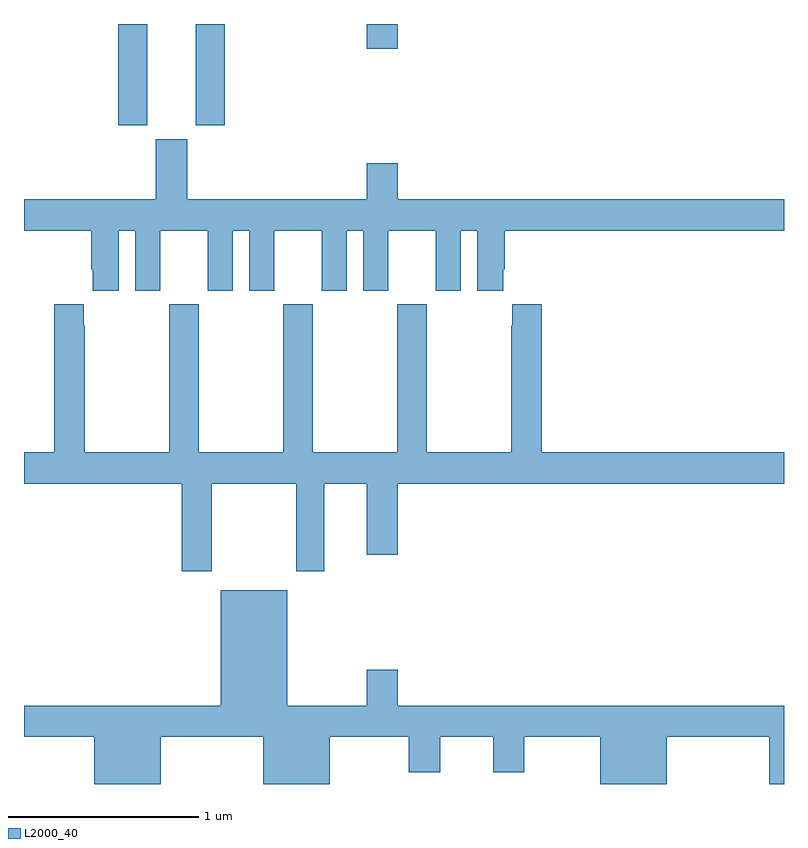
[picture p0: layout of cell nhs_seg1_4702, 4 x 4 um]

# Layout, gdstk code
import gdstk
lib = gdstk.Library(unit=1e-6, precision=1e-09)
def R(c, l, rs):  # rectangles x0, y0, x1, y1
    for r in rs: c.add(gdstk.rectangle(r[:2], r[2:], *l))
def P(c, l, *ps):  # polygons
    for p in ps: c.add(gdstk.Polygon(p, *l))
L2000_40 = (2000, 40)

nhs_seg1_4702 = lib.new_cell('nhs_seg1_4702')
R(nhs_seg1_4702, L2000_40, [(367.496,505.665,367.648,506.199), (367.904,505.665,368.057,506.199), (368.804,506.07,368.968,506.199)])
P(nhs_seg1_4702, L2000_40, [(367.498,505.112),(367.586,505.112),(367.586,504.795),(367.717,504.795),(367.717,505.112),(367.967,505.112),(367.967,504.795),(368.098,504.795),(368.098,505.112),(368.186,505.112),(368.186,504.795),(368.317,504.795),(368.317,505.112),(368.567,505.112),(368.567,504.795),(368.698,504.795),(368.698,505.112),(368.786,505.112),(368.786,504.795),(368.917,504.795),(368.917,505.112),(369.167,505.112),(369.167,504.795),(369.298,504.795),(369.298,505.112),(369.386,505.112),(369.386,504.795),(369.523,504.795),(369.523,504.907),(369.53,504.907),(369.53,505.112),(371,505.112),(371,505.276),(368.968,505.276),(368.968,505.465),(368.804,505.465),(368.804,505.276),(367.858,505.276),(367.858,505.593),(367.694,505.593),(367.694,505.276),(367,505.276),(367,505.112),(367.355,505.112),(367.355,504.907),(367.361,504.907),(367.361,504.795),(367.498,504.795)],
  [(367.989,503.78),(368.434,503.78),(368.434,503.319),(368.581,503.319),(368.581,503.78),(368.804,503.78),(368.804,503.406),(368.968,503.406),(368.968,503.78),(371,503.78),(371,503.944),(369.725,503.944),(369.725,504.724),(369.569,504.724),(369.569,504.611),(369.565,504.611),(369.565,503.944),(369.12,503.944),(369.12,504.724),(368.965,504.724),(368.965,503.944),(368.52,503.944),(368.52,504.724),(368.365,504.724),(368.365,503.944),(367.92,503.944),(367.92,504.724),(367.765,504.724),(367.765,503.944),(367.32,503.944),(367.32,504.611),(367.315,504.611),(367.315,504.724),(367.16,504.724),(367.16,503.944),(367,503.944),(367,503.78),(367.829,503.78),(367.829,503.319),(367.989,503.319)],
  [(368.036,502.612),(367,502.612),(367,502.448),(367.37,502.448),(367.37,502.199),(367.72,502.199),(367.72,502.448),(368.258,502.448),(368.258,502.199),(368.608,502.199),(368.608,502.448),(369.026,502.448),(369.026,502.26),(369.19,502.26),(369.19,502.448),(369.47,502.448),(369.47,502.26),(369.634,502.26),(369.634,502.448),(370.034,502.448),(370.034,502.199),(370.384,502.199),(370.384,502.448),(370.922,502.448),(370.922,502.199),(371,502.199),(371,502.612),(368.968,502.612),(368.968,502.801),(368.804,502.801),(368.804,502.612),(368.386,502.612),(368.386,503.218),(368.036,503.218)])

lib.write_gds('nhs_seg1_4702.gds')
